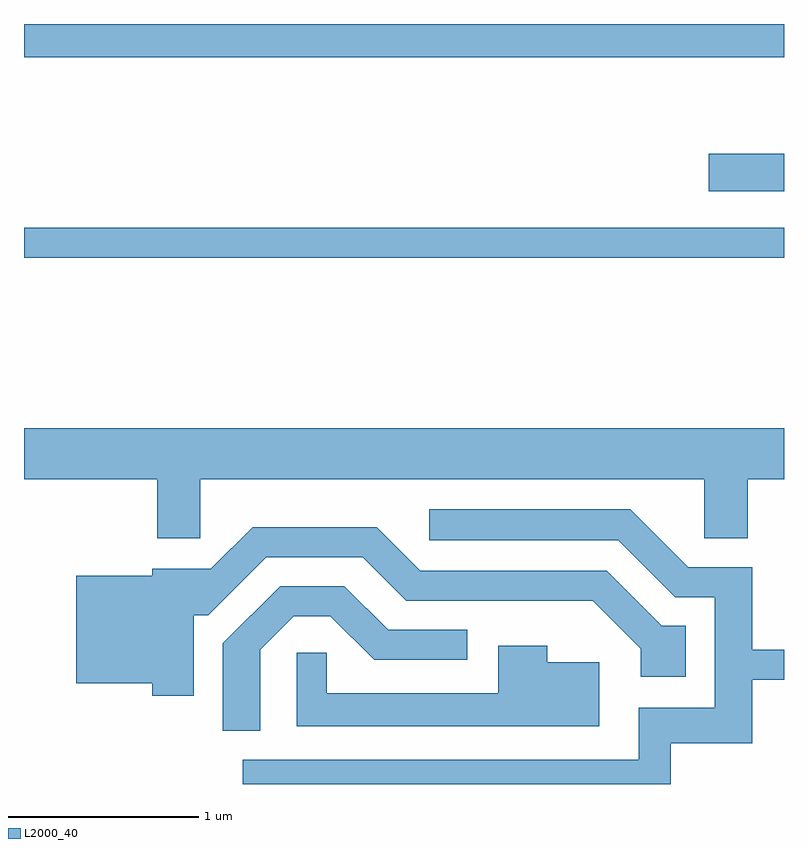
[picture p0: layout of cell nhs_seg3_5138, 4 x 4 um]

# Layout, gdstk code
import gdstk
lib = gdstk.Library(unit=1e-6, precision=1e-09)
def R(c, l, rs):  # rectangles x0, y0, x1, y1
    for r in rs: c.add(gdstk.rectangle(r[:2], r[2:], *l))
def P(c, l, *ps):  # polygons
    for p in ps: c.add(gdstk.Polygon(p, *l))
L2000_40 = (2000, 40)

nhs_seg3_5138 = lib.new_cell('nhs_seg3_5138')
R(nhs_seg3_5138, L2000_40, [(335.611,1202.661,339.611,1202.819), (339.216,1203.011,339.611,1203.209), (335.611,1203.716,339.611,1203.892)])
P(nhs_seg3_5138, L2000_40, [(336.539,1201.496),(339.191,1201.496),(339.191,1201.186),(339.419,1201.186),(339.419,1201.496),(339.611,1201.496),(339.611,1201.764),(335.611,1201.764),(335.611,1201.496),(336.311,1201.496),(336.311,1201.186),(336.539,1201.186)],
  [(339.014,1200.106),(339.444,1200.106),(339.444,1200.441),(339.611,1200.441),(339.611,1200.599),(339.444,1200.599),(339.444,1201.034),(339.107,1201.034),(338.802,1201.339),(337.743,1201.339),(337.743,1201.176),(338.739,1201.176),(339.039,1200.876),(339.246,1200.876),(339.246,1200.294),(338.846,1200.294),(338.846,1200.019),(336.763,1200.019),(336.763,1199.892),(339.014,1199.892)],
  [(336.504,1200.781),(336.582,1200.781),(336.887,1201.086),(337.394,1201.086),(337.624,1200.856),(338.604,1200.856),(338.856,1200.604),(338.856,1200.456),(339.094,1200.456),(339.094,1200.724),(338.967,1200.724),(338.677,1201.014),(337.697,1201.014),(337.467,1201.244),(336.814,1201.244),(336.594,1201.024),(336.286,1201.024),(336.286,1200.989),(335.886,1200.989),(335.886,1200.421),(336.286,1200.421),(336.286,1200.356),(336.504,1200.356)],
  [(336.854,1200.599),(337.032,1200.776),(337.224,1200.776),(337.454,1200.546),(337.943,1200.546),(337.943,1200.704),(337.527,1200.704),(337.297,1200.934),(336.959,1200.934),(336.656,1200.632),(336.656,1200.171),(336.854,1200.171)],
  [(338.639,1200.534),(338.364,1200.534),(338.364,1200.619),(338.106,1200.619),(338.106,1200.369),(337.204,1200.369),(337.204,1200.583),(337.046,1200.583),(337.046,1200.196),(338.639,1200.196)])

lib.write_gds('nhs_seg3_5138.gds')
